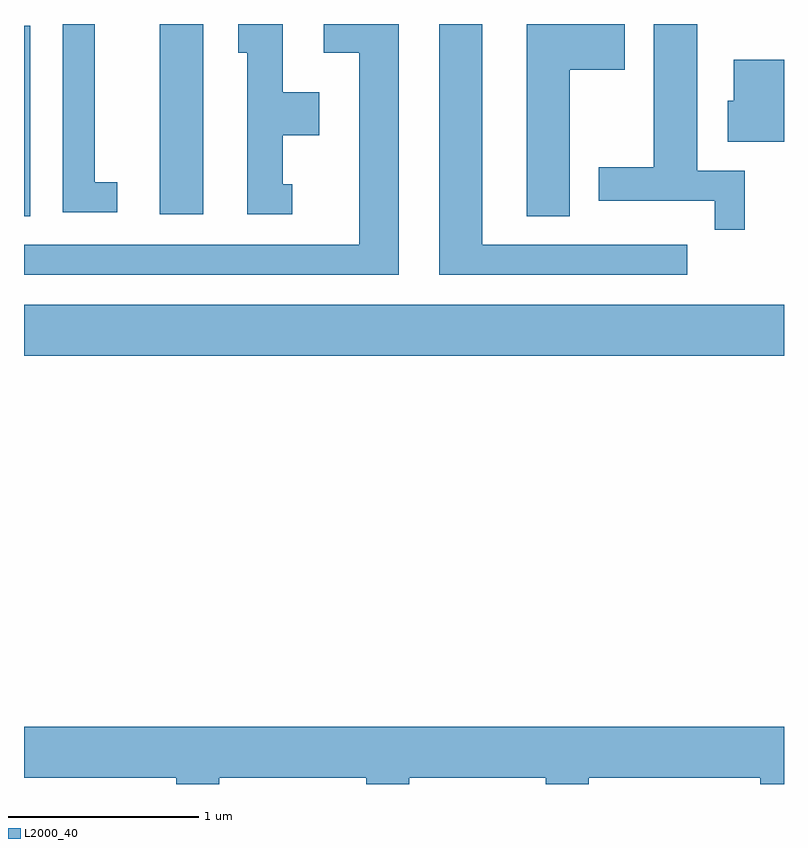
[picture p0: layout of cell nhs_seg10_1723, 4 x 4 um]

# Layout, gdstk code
import gdstk
lib = gdstk.Library(unit=1e-6, precision=1e-09)
def R(c, l, rs):  # rectangles x0, y0, x1, y1
    for r in rs: c.add(gdstk.rectangle(r[:2], r[2:], *l))
def P(c, l, *ps):  # polygons
    for p in ps: c.add(gdstk.Polygon(p, *l))
L2000_40 = (2000, 40)

nhs_seg10_1723 = lib.new_cell('nhs_seg10_1723')
R(nhs_seg10_1723, L2000_40, [(235.611,2142.776,239.611,2143.044), (235.611,2143.511,235.644,2144.514), (236.326,2143.521,236.554,2144.522)])
P(nhs_seg10_1723, L2000_40, [(239.611,2144.522),(239.408,2144.522),(239.409,2144.521),(239.611,2144.521)],
  [(238.484,2144.281),(238.774,2144.281),(238.774,2144.522),(238.256,2144.522),(238.256,2143.511),(238.484,2143.511)],
  [(239.404,2143.749),(239.154,2143.749),(239.154,2144.522),(238.926,2144.522),(238.926,2143.769),(238.636,2143.769),(238.636,2143.591),(239.246,2143.591),(239.246,2143.438),(239.404,2143.438)],
  [(237.584,2144.522),(237.188,2144.522),(237.188,2144.371),(237.376,2144.371),(237.376,2143.359),(235.611,2143.359),(235.611,2143.201),(237.584,2143.201)],
  [(236.103,2143.689),(235.984,2143.689),(235.984,2144.522),(235.816,2144.522),(235.816,2143.531),(236.103,2143.531)],
  [(239.103,2143.359),(238.024,2143.359),(238.024,2144.522),(237.796,2144.522),(237.796,2143.201),(239.103,2143.201)],
  [(237.023,2143.679),(236.974,2143.679),(236.974,2143.936),(237.164,2143.936),(237.164,2144.164),(236.974,2144.164),(236.974,2144.522),(236.738,2144.522),(236.738,2144.371),(236.786,2144.371),(236.786,2143.521),(237.023,2143.521)],
  [(239.611,2144.334),(239.346,2144.334),(239.346,2144.119),(239.316,2144.119),(239.316,2143.901),(239.611,2143.901)],
  [(236.639,2140.556),(237.411,2140.556),(237.411,2140.522),(237.639,2140.522),(237.639,2140.556),(238.356,2140.556),(238.356,2140.522),(238.584,2140.522),(238.584,2140.556),(239.486,2140.556),(239.486,2140.522),(239.611,2140.522),(239.611,2140.824),(235.611,2140.824),(235.611,2140.556),(236.411,2140.556),(236.411,2140.522),(236.639,2140.522)])

lib.write_gds('nhs_seg10_1723.gds')
